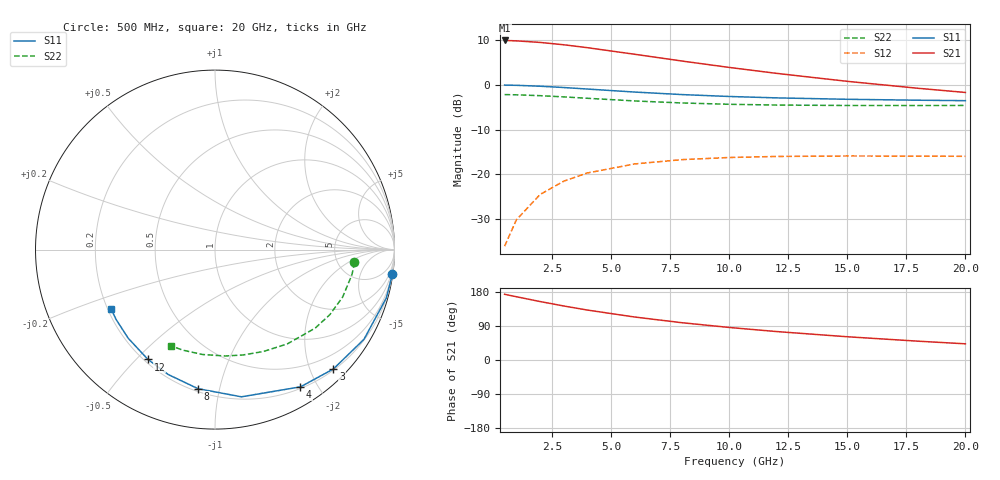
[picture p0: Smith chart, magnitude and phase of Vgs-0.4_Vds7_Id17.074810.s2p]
# Hz S RI R 50
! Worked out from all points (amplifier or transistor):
!   12 points, 500 MHz to 20 GHz, reference 50 ohm
!   highest |S21| = 10.0 dB at 500 MHz (marker M1)
!   |S21| within 3 dB of that: start of sweep to 5.865 GHz
!   unconditionally stable (mu >= 1): 16.66 GHz to end of sweep
!   at 2 GHz: K = 0.11, MSG = 17.1 dB, |S12| = -24.6 dB
!   at 8 GHz: K = 0.44, MSG = 11.1 dB, |S12| = -16.8 dB
!   at 20 GHz: K = 1.26, MAG = 4.1 dB, |S12| = -16.0 dB
!   S11 on the Smith chart (normalised r, x): 500 MHz: 0, -14; 3 GHz: 0.22, -2.38; 4 GHz: 0.22, -1.78; 8 GHz: 0.22, -0.86; 12 GHz: 0.21, -0.54; 20 GHz: 0.21, -0.25
5e8  0.9883 -0.1381  -3.143 0.3628  0.00149 0.0154  0.7771 -0.0709
1e9  0.9541 -0.2706  -3.049 0.7097  0.00582 0.0301  0.7631 -0.1397
2e9  0.83 -0.4999  -2.71 1.305  0.0215 0.0548  0.7116 -0.2637
3e9  0.6598 -0.665  -2.247 1.721  0.0428 0.0712  0.6396 -0.3629
4e9  0.476 -0.7649  -1.751 1.956  0.0654 0.0792  0.559 -0.4368
6e9  0.1469 -0.8202  -0.881 2.031  0.1046 0.0769  0.4029 -0.5255
8e9  -0.0946 -0.7749  -0.2721 1.839  0.1311 0.0624  0.2689 -0.5679
1e10  -0.2602 -0.6961  0.1135 1.571  0.1467 0.0449  0.1558 -0.587
1.2e10  -0.3738 -0.6117  0.3475 1.306  0.1551 0.028  0.0575 -0.5928
1.5e10  -0.4837 -0.4935  0.5276 0.9649  0.1594 0.00633  -0.0704 -0.5844
1.8e10  -0.5505 -0.39  0.5947 0.6997  0.1587 -0.0109  -0.1798 -0.56
2e10  -0.5802 -0.3285  0.6059 0.5593  0.1568 -0.0203  -0.2437 -0.5368
